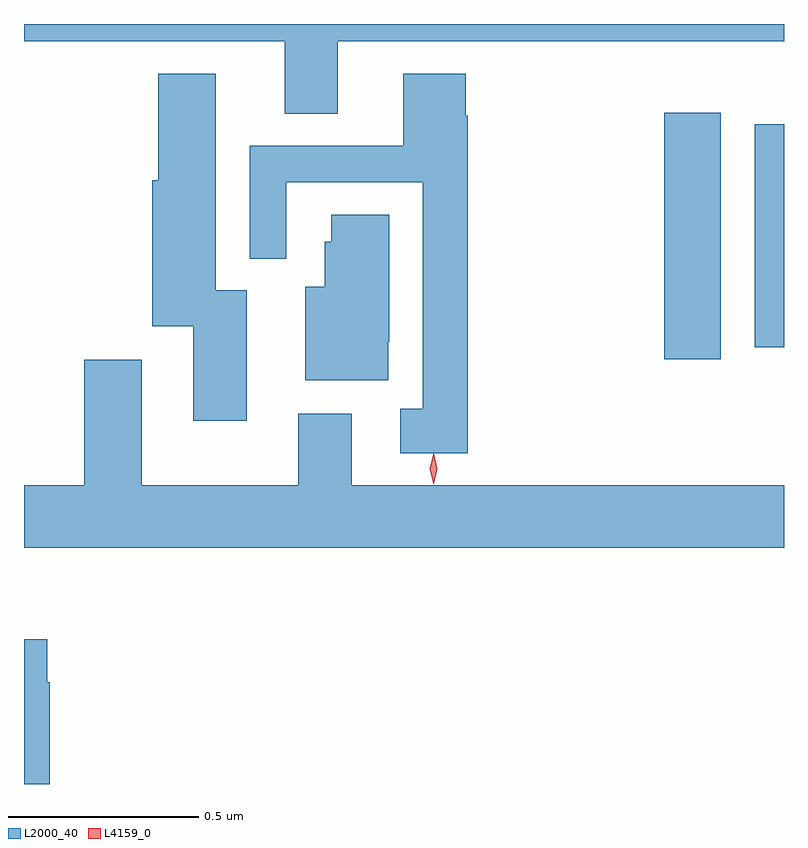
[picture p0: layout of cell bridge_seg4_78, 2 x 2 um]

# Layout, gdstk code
import gdstk
lib = gdstk.Library(unit=1e-6, precision=1e-09)
def R(c, l, rs):  # rectangles x0, y0, x1, y1
    for r in rs: c.add(gdstk.rectangle(r[:2], r[2:], *l))
def P(c, l, *ps):  # polygons
    for p in ps: c.add(gdstk.Polygon(p, *l))
L2000_40 = (2000, 40)
L4159_0 = (4159, 0)

bridge_seg4_78 = lib.new_cell('bridge_seg4_78')
R(bridge_seg4_78, L2000_40, [(471.932,829.284,472.081,829.933), (472.17,829.315,472.247,829.902)])
P(bridge_seg4_78, L2000_40, [(471.073,830.12),(472.247,830.12),(472.247,830.166),(470.247,830.166),(470.247,830.12),(470.933,830.12),(470.933,829.93),(471.073,829.93)],
  [(471.415,829.925),(471.41,829.925),(471.41,830.035),(471.245,830.035),(471.245,829.845),(470.841,829.845),(470.841,829.548),(470.937,829.548),(470.937,829.749),(471.296,829.749),(471.296,829.154),(471.237,829.154),(471.237,829.037),(471.415,829.037)],
  [(470.833,829.465),(470.752,829.465),(470.752,830.035),(470.6,830.035),(470.6,829.755),(470.585,829.755),(470.585,829.371),(470.693,829.371),(470.693,829.122),(470.833,829.122)],
  [(471.205,829.33),(471.208,829.33),(471.208,829.664),(471.056,829.664),(471.056,829.593),(471.038,829.593),(471.038,829.474),(470.987,829.474),(470.987,829.229),(471.205,829.229)],
  [(472.247,828.952),(471.109,828.952),(471.109,829.141),(470.969,829.141),(470.969,828.952),(470.557,828.952),(470.557,829.282),(470.405,829.282),(470.405,828.952),(470.247,828.952),(470.247,828.788),(472.247,828.788)],
  [(470.315,828.434),(470.308,828.434),(470.308,828.547),(470.247,828.547),(470.247,828.166),(470.315,828.166)])
P(bridge_seg4_78, L4159_0, [(471.325,828.955),(471.325,828.955),(471.315,828.996),(471.325,829.037),(471.325,829.037),(471.325,829.037),(471.335,828.996),(471.325,828.955)])

lib.write_gds('bridge_seg4_78.gds')
